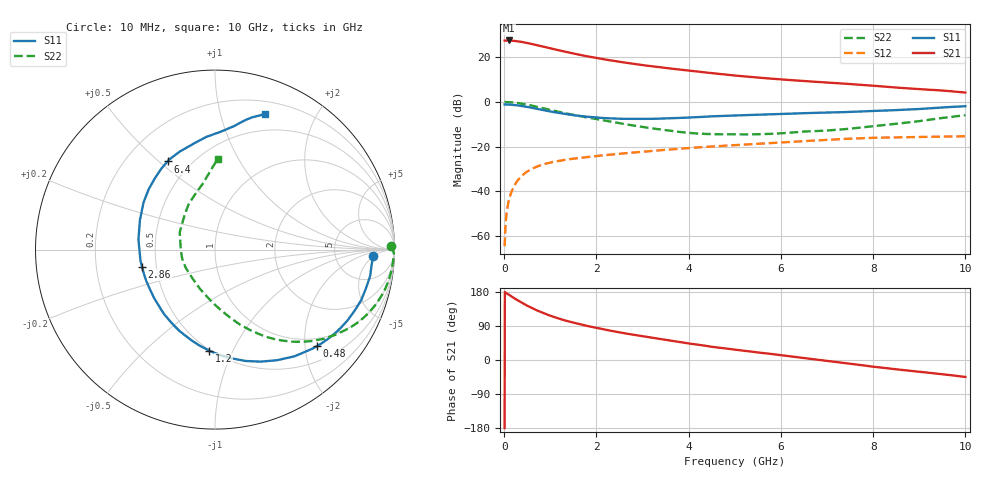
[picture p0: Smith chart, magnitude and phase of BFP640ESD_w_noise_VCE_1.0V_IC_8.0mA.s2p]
! Infineon Technologies  Discrete & RF Semiconductors
! BFP640ESD
! VCE =  1.0 V,  IC =  8.0 mA
! Common Emitter S-Parameters:  Jan 2016
# GHz  S  MA  R  50
!  f  S11  S21  S12  S22
! GHz  MAG  ANG  MAG  ANG  MAG  ANG  MAG  ANG
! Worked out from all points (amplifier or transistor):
!   233 points, 10 MHz to 10 GHz, reference 50 ohm
!   highest |S21| = 27.5 dB at 100 MHz (marker M1)
!   |S21| within 3 dB of that: start of sweep to 899.2 MHz
!   unconditionally stable (mu >= 1): 4.264 GHz to 9.275 GHz
!   at 200 MHz: K = 0.08, MSG = 32.8 dB, |S12| = -38.3 dB
!   at 1.74 GHz: K = 0.62, MSG = 22.7 dB, |S12| = -24.7 dB
!   at 10 GHz: K = 0.90, MSG = 9.8 dB, |S12| = -15.3 dB
!   lowest NFmin = 0.63 dB at 450 MHz
!   S11 on the Smith chart (normalised r, x): 10 MHz: 15, -5; 480 MHz: 0.81, -2.25; 1.2 GHz: 0.49, -0.82; 2.86 GHz: 0.42, -0.10; 6.4 GHz: 0.37, +0.53; 10 GHz: 0.32, +1.38
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0.01  0.8837 -2.2  23.58 -179.7  0.0006 35.7  0.9825 1.1
0.05  0.8768 -4.9  23.58 176.0  0.0031 87.2  0.9951 -3.3
0.1  0.877 -9.6  23.68 172.5  0.0062 84.4  0.9914 -6.4
0.2  0.8621 -19.0  23.32 164.6  0.0122 79.3  0.9738 -12.8
0.3  0.8372 -28.1  22.65 157.0  0.018 74.6  0.9462 -18.9
0.4  0.8084 -36.8  21.78 149.9  0.0231 70.0  0.9103 -24.7
0.48  0.7814 -43.6  21 144.6  0.027 66.7  0.8786 -28.8
0.6  0.7416 -53.3  19.78 137.0  0.0319 62.0  0.8272 -34.7
0.8  0.6742 -67.8  17.71 126.2  0.0388 56.0  0.7437 -43.2
1  0.6134 -81.1  15.83 116.9  0.0443 51.3  0.6662 -50.3
1.2  0.5643 -93.2  14.17 108.8  0.0487 47.7  0.5986 -56.4
1.4  0.5234 -104.2  12.71 101.7  0.0524 45.0  0.5401 -61.6
1.68  0.4813 -118.0  11.1 93.2  0.057 42.3  0.4746 -67.9
2.2  0.4346 -140.9  8.857 79.7  0.065 38.8  0.3811 -78.3
2.86  0.4179 -166.7  6.979 65.5  0.0751 35.2  0.2911 -93.4
3.4  0.4255 175.6  5.918 55.1  0.0837 32.3  0.2419 -107.5
4.4  0.4704 148.7  4.526 36.8  0.0997 25.8  0.1925 -143.4
5.1  0.5029 136.1  3.816 25.9  0.1101 21.3  0.1889 -166.7
6.4  0.5579 118.3  2.985 7.0  0.1315 12.2  0.2139 156.4
6.8  0.5723 112.6  2.801 1.0  0.1388 8.9  0.2247 147.8
8.4  0.6515 88.5  2.137 -23.2  0.1607 -7.3  0.3173 112.4
10  0.8044 69.8  1.624 -44.7  0.1712 -21.2  0.506 88.3
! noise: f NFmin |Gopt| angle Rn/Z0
0.45  0.63  0.26  9  0.1
0.9  0.65  0.24  22  0.11
1.9  0.69  0.18  38  0.11
2.4  0.73  0.14  55  0.1
5.5  1.02  0.32  -137  0.13
10  1.86  0.6  -80  0.73
